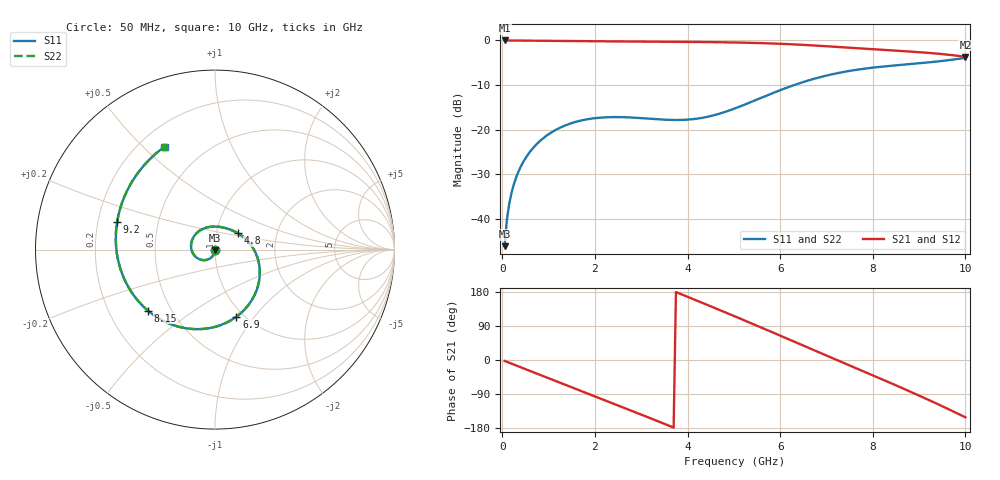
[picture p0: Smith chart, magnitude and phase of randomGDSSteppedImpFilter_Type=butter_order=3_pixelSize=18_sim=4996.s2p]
! freq	dB(S11)	phase(S11)	dB(S12)	phase(S12)
!  dB(S21)	phase(S21)	dB(S22)	phase(S22)
!S-par simulation data
#  GHz  S  DB  R 50
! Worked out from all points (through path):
!   200 points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, 50 MHz to 10 GHz, reference 50 ohm
!   highest |S21| = -0.01 dB at 50 MHz (marker M1); lowest = -3.7 dB at 10 GHz (marker M2)
!   group delay of S21, straight-line fit = 141 ps
!   lowest |S11| = -46.1 dB at 50 MHz (marker M3), VSWR 1.01, Z = 50 - j0.495 ohm
!   |S11| at or under -10 dB: start of sweep to 6.302 GHz
!   |S22| runs from -46.1 to -3.9 dB; largest |S21 - S12| = 0
!   S11 on the Smith chart (normalised r, x): 50 MHz: 1.00, -0.01; 4.8 GHz: 1.27, +0.24; 6.9 GHz: 0.93, -0.82; 8.15 GHz: 0.37, -0.34; 9.2 GHz: 0.28, +0.13; 10 GHz: 0.30, +0.58
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0.05  -46.10 -91.9  -0.01 -2.5  -0.01 -2.5  -46.12 -91.8
0.1  -40.10 -94.8  -0.02 -4.9  -0.02 -4.9  -40.11 -94.7
0.2  -34.13 -100.0  -0.02 -9.7  -0.02 -9.7  -34.13 -99.9
0.5  -26.40 -114.7  -0.04 -24.1  -0.04 -24.1  -26.40 -114.6
1.15  -20.07 -146.1  -0.11 -55.2  -0.11 -55.2  -20.07 -146.0
1.75  -17.84 -175.2  -0.17 -83.9  -0.17 -83.9  -17.84 -175.0
2.5  -17.17 148.5  -0.22 -119.8  -0.22 -119.8  -17.18 148.8
2.95  -17.37 126.6  -0.25 -141.6  -0.25 -141.6  -17.38 127.0
3.4  -17.70 104.5  -0.28 -163.5  -0.28 -163.5  -17.70 104.9
4.1  -17.65 69.8  -0.33 161.8  -0.33 161.8  -17.66 70.1
4.8  -16.05 35.1  -0.42 126.5  -0.42 126.5  -16.06 35.2
5.05  -15.13 22.5  -0.47 113.7  -0.47 113.7  -15.13 22.6
5.45  -13.46 2.4  -0.56 93.1  -0.56 93.1  -13.46 2.3
5.85  -11.76 -18.0  -0.69 72.2  -0.69 72.2  -11.76 -18.1
6.7  -8.69 -61.9  -1.11 27.6  -1.11 27.6  -8.69 -61.9
6.9  -8.13 -72.2  -1.24 17.1  -1.24 17.1  -8.13 -72.3
7.5  -6.82 -103.5  -1.64 -14.2  -1.64 -14.2  -6.82 -103.5
8.15  -5.93 -137.8  -2.06 -48.2  -2.06 -48.2  -5.93 -137.7
8.35  -5.73 -148.5  -2.19 -58.8  -2.19 -58.8  -5.72 -148.4
8.8  -5.31 -173.2  -2.49 -82.9  -2.49 -82.9  -5.31 -173.0
9.2  -4.93 164.0  -2.79 -105.0  -2.79 -105.0  -4.93 164.3
10  -3.90 116.0  -3.69 -151.2  -3.69 -151.2  -3.90 116.4
